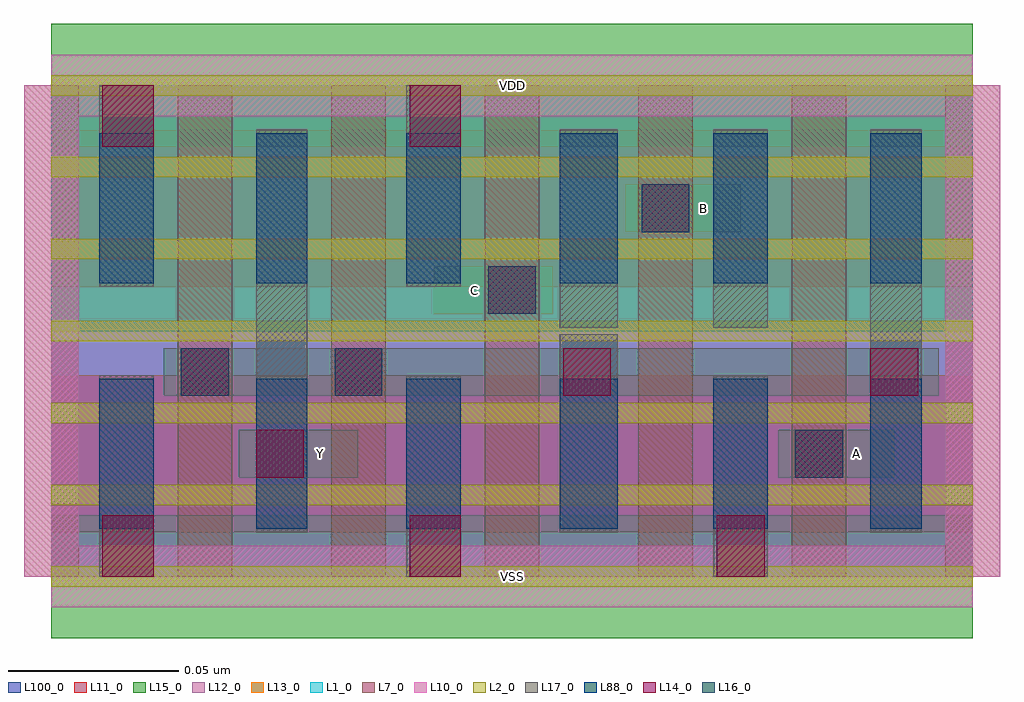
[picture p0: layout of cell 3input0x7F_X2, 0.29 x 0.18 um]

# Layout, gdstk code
import gdstk
lib = gdstk.Library(unit=1e-6, precision=1e-09)
def R(c, l, rs):  # rectangles x0, y0, x1, y1
    for r in rs: c.add(gdstk.rectangle(r[:2], r[2:], *l))
def A(c, l, x, y, w, h, nx, ny, dx, dy):  # array of equal rectangles
    R(c, l, [(x+i*dx, y+j*dy, x+i*dx+w, y+j*dy+h) for i in range(nx) for j in range(ny)])
def P(c, l, *ps):  # polygons
    for p in ps: c.add(gdstk.Polygon(p, *l))
L1_0 = (1, 0)
L2_0 = (2, 0)
L7_0 = (7, 0)
L10_0 = (10, 0)
L11_0 = (11, 0)
L12_0 = (12, 0)
L13_0 = (13, 0)
L14_0 = (14, 0)
L15_0 = (15, 0)
L16_0 = (16, 0)
L17_0 = (17, 0)
L88_0 = (88, 0)
L100_0 = (100, 0)

c_3input0x7f_x2 = lib.new_cell('3input0x7F_X2')
R(c_3input0x7f_x2, L1_0, [(0,0.072,0.27,0.144)])
A(c_3input0x7f_x2, L2_0, 0, -0.003, 0.27, 0.006, 1, 7, 0, 0.024)
A(c_3input0x7f_x2, L7_0, -0.008, 0, 0.016, 0.144, 7, 1, 0.045, 0)
P(c_3input0x7f_x2, L10_0, [(0,-0.009),(0,0),(-0.008,0),(-0.008,0.135),(0.008,0.135),(0.008,0.009),(0.262,0.009),(0.262,0.135),(-0.008,0.135),(-0.008,0.144),(0,0.144),(0,0.153),(0.27,0.153),(0.27,0.144),(0.278,0.144),(0.278,0),(0.27,0),(0.27,-0.009)])
R(c_3input0x7f_x2, L11_0, [(0,0.013,0.27,0.059), (0,0.085,0.27,0.131)])
R(c_3input0x7f_x2, L12_0, [(0,0,0.27,0.072)])
R(c_3input0x7f_x2, L13_0, [(0,0.072,0.27,0.144)])
R(c_3input0x7f_x2, L14_0, [(0.015,0,0.03,0.018), (0.105,0,0.12,0.018), (0.195,0,0.209,0.018), (0.06,0.029,0.074,0.043), (0.218,0.029,0.232,0.043), (0.038,0.053,0.052,0.067), (0.083,0.053,0.097,0.067), (0.15,0.053,0.164,0.067), (0.24,0.053,0.254,0.067), (0.128,0.077,0.142,0.091), (0.173,0.101,0.187,0.115), (0.015,0.126,0.03,0.144), (0.105,0.126,0.12,0.144)])
R(c_3input0x7f_x2, L15_0, [(0,-0.018,0.27,0.018), (0.055,0.029,0.09,0.043), (0.213,0.029,0.247,0.043), (0.033,0.053,0.26,0.067), (0.112,0.077,0.147,0.091), (0.168,0.101,0.202,0.115), (0,0.126,0.27,0.162)])
R(c_3input0x7f_x2, L16_0, [(0.218,0.029,0.232,0.043), (0.038,0.053,0.052,0.067), (0.083,0.053,0.097,0.067), (0.128,0.077,0.142,0.091), (0.173,0.101,0.187,0.115)])
A(c_3input0x7f_x2, L17_0, 0.014, 0, 0.016, 0.059, 3, 1, 0.09, 0)
R(c_3input0x7f_x2, L17_0, [(0.06,0.013,0.075,0.131), (0.149,0.013,0.166,0.071), (0.24,0.013,0.255,0.131), (0.149,0.073,0.166,0.131), (0.194,0.073,0.21,0.131), (0.014,0.085,0.03,0.144), (0.104,0.085,0.12,0.144)])
A(c_3input0x7f_x2, L88_0, 0.014, 0.014, 0.016, 0.044, 3, 2, 0.09, 0.072)
R(c_3input0x7f_x2, L88_0, [(0.06,0.014,0.075,0.058), (0.149,0.014,0.166,0.058), (0.24,0.014,0.255,0.058), (0.06,0.086,0.075,0.13), (0.149,0.086,0.166,0.13), (0.24,0.086,0.255,0.13)])
R(c_3input0x7f_x2, L100_0, [(0,0,0.27,0.144)])
c_3input0x7f_x2.add(gdstk.Label('A', (0.236,0.036), layer=15, texttype=251))
c_3input0x7f_x2.add(gdstk.Label('VSS', (0.135,0), layer=15, texttype=251))
c_3input0x7f_x2.add(gdstk.Label('VDD', (0.135,0.144), layer=15, texttype=251))
c_3input0x7f_x2.add(gdstk.Label('Y', (0.079,0.036), layer=15, texttype=251))
c_3input0x7f_x2.add(gdstk.Label('VSS', (0.135,0), layer=15, texttype=251))
c_3input0x7f_x2.add(gdstk.Label('VDD', (0.135,0.144), layer=15, texttype=251))
c_3input0x7f_x2.add(gdstk.Label('C', (0.124,0.084), layer=15, texttype=251))
c_3input0x7f_x2.add(gdstk.Label('VSS', (0.135,0), layer=15, texttype=251))
c_3input0x7f_x2.add(gdstk.Label('VDD', (0.135,0.144), layer=15, texttype=251))
c_3input0x7f_x2.add(gdstk.Label('B', (0.191,0.108), layer=15, texttype=251))
c_3input0x7f_x2.add(gdstk.Label('VSS', (0.135,0), layer=15, texttype=251))
c_3input0x7f_x2.add(gdstk.Label('VDD', (0.135,0.144), layer=15, texttype=251))
c_3input0x7f_x2.add(gdstk.Label('VSS', (0.135,0), layer=3, texttype=251))
c_3input0x7f_x2.add(gdstk.Label('VSS', (0.135,0), layer=3, texttype=251))
c_3input0x7f_x2.add(gdstk.Label('VSS', (0.135,0), layer=3, texttype=251))
c_3input0x7f_x2.add(gdstk.Label('VSS', (0.135,0), layer=3, texttype=251))
c_3input0x7f_x2.add(gdstk.Label('VDD', (0.135,0.144), layer=1, texttype=251))
c_3input0x7f_x2.add(gdstk.Label('VDD', (0.135,0.144), layer=1, texttype=251))
c_3input0x7f_x2.add(gdstk.Label('VDD', (0.135,0.144), layer=1, texttype=251))
c_3input0x7f_x2.add(gdstk.Label('VDD', (0.135,0.144), layer=1, texttype=251))

lib.write_gds('3input0x7F_X2.gds')
